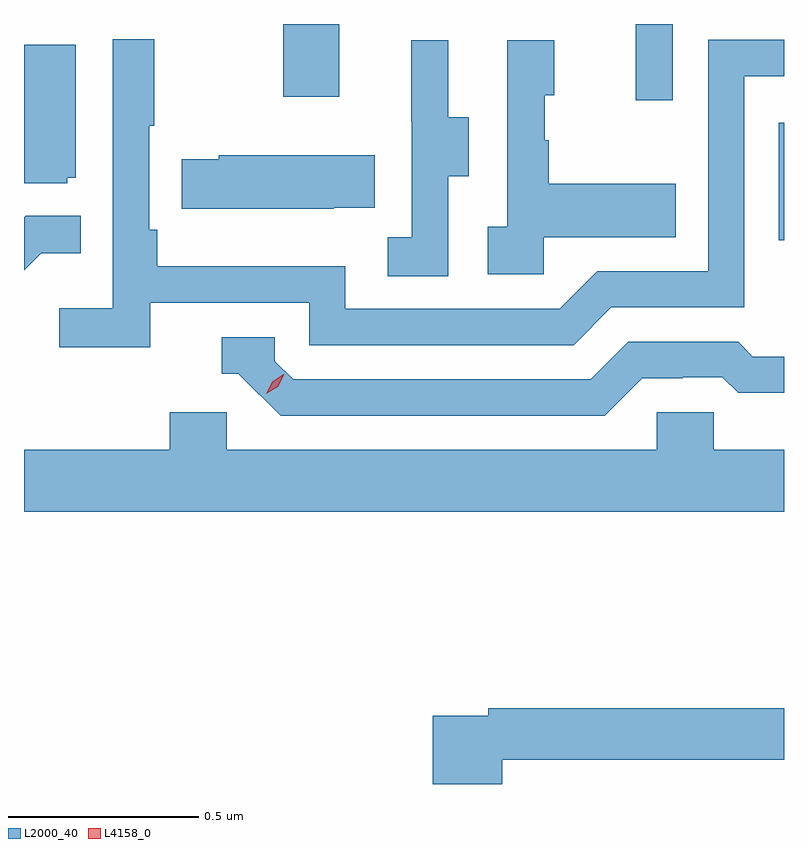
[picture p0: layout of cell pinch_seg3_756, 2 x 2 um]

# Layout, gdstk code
import gdstk
lib = gdstk.Library(unit=1e-6, precision=1e-09)
def R(c, l, rs):  # rectangles x0, y0, x1, y1
    for r in rs: c.add(gdstk.rectangle(r[:2], r[2:], *l))
def P(c, l, *ps):  # polygons
    for p in ps: c.add(gdstk.Polygon(p, *l))
L2000_40 = (2000, 40)
L4158_0 = (4158, 0)

pinch_seg3_756 = lib.new_cell('pinch_seg3_756')
R(pinch_seg3_756, L2000_40, [(864.654,730.935,864.668,731.244), (864.278,731.304,864.375,731.504), (863.35,731.313,863.497,731.504)])
P(pinch_seg3_756, L2000_40, [(863,730.77),(863.418,730.77),(863.418,730.659),(864.115,730.659),(864.214,730.758),(864.564,730.758),(864.564,731.367),(864.668,731.367),(864.668,731.463),(864.468,731.463),(864.468,730.854),(864.177,730.854),(864.078,730.755),(863.514,730.755),(863.514,730.867),(863.018,730.867),(863.018,730.963),(862.998,730.963),(862.998,731.236),(863.011,731.236),(863.011,731.464),(862.902,731.464),(862.902,730.756),(862.761,730.756),(862.761,730.654),(863,730.654)],
  [(864.036,730.943),(864.383,730.943),(864.383,731.083),(864.049,731.083),(864.049,731.198),(864.039,731.198),(864.039,731.316),(864.064,731.316),(864.064,731.461),(863.94,731.461),(863.94,730.97),(863.889,730.97),(863.889,730.845),(864.036,730.845)],
  [(863.784,731.104),(863.839,731.104),(863.839,731.259),(863.785,731.259),(863.785,731.461),(863.687,731.461),(863.687,731.247),(863.688,731.247),(863.688,730.943),(863.625,730.943),(863.625,730.84),(863.784,730.84)],
  [(862.782,731.1),(862.804,731.1),(862.804,731.449),(862.668,731.449),(862.668,731.085),(862.782,731.085)],
  [(863.483,731.021),(863.591,731.021),(863.591,731.158),(863.181,731.158),(863.181,731.148),(863.083,731.148),(863.083,731.018),(863.483,731.018)],
  [(862.713,730.901),(862.817,730.901),(862.817,731),(862.673,731),(862.668,730.995),(862.668,730.856)],
  [(864.295,730.572),(864.402,730.572),(864.402,730.575),(864.505,730.575),(864.547,730.533),(864.668,730.533),(864.668,730.629),(864.586,730.629),(864.547,730.668),(864.258,730.668),(864.159,730.569),(863.376,730.569),(863.328,730.617),(863.328,730.68),(863.189,730.68),(863.189,730.584),(863.232,730.584),(863.343,730.473),(864.196,730.473)],
  [(864.668,730.384),(864.483,730.384),(864.483,730.482),(864.333,730.482),(864.333,730.384),(863.202,730.384),(863.202,730.482),(863.051,730.482),(863.051,730.384),(862.668,730.384),(862.668,730.22),(864.668,730.22)],
  [(863.927,729.568),(864.668,729.568),(864.668,729.704),(863.89,729.704),(863.89,729.684),(863.744,729.684),(863.744,729.504),(863.927,729.504)])
P(pinch_seg3_756, L4158_0, [(863.305,730.531),(863.305,730.531),(863.321,730.563),(863.352,730.582),(863.353,730.582),(863.353,730.582),(863.336,730.55),(863.305,730.531)])

lib.write_gds('pinch_seg3_756.gds')
